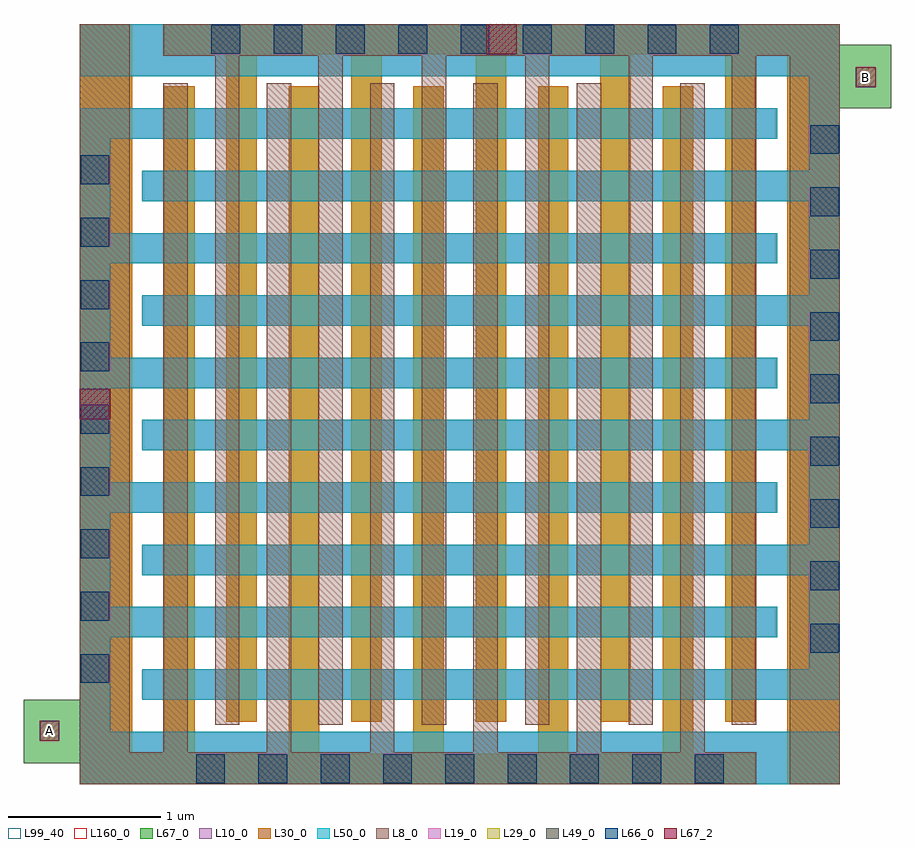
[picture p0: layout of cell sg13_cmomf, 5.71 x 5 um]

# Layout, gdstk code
import gdstk
lib = gdstk.Library(unit=1e-6, precision=1e-09)
def R(c, l, rs):  # rectangles x0, y0, x1, y1
    for r in rs: c.add(gdstk.rectangle(r[:2], r[2:], *l))
def A(c, l, x, y, w, h, nx, ny, dx, dy):  # array of equal rectangles
    R(c, l, [(x+i*dx, y+j*dy, x+i*dx+w, y+j*dy+h) for i in range(nx) for j in range(ny)])
L8_0 = (8, 0)
L10_0 = (10, 0)
L19_0 = (19, 0)
L29_0 = (29, 0)
L30_0 = (30, 0)
L49_0 = (49, 0)
L50_0 = (50, 0)
L66_0 = (66, 0)
L67_0 = (67, 0)
L67_2 = (67, 2)
L99_40 = (99, 40)
L160_0 = (160, 0)

cmomf = lib.new_cell('cmomf')
A(cmomf, L8_0, 0.55, 0, 0.16, 4.61, 6, 1, 0.68, 0)
A(cmomf, L8_0, 0.89, 0.39, 0.16, 4.61, 6, 1, 0.68, 0)
R(cmomf, L8_0, [(0,0,0.33,5), (0,0,4.45,0.21), (4.67,0,5,5), (0.55,4.79,5,5)])
A(cmomf, L10_0, 0.42, 0.555, 4.58, 0.2, 1, 5, 0, 0.82)
A(cmomf, L10_0, 0, 0.965, 4.58, 0.2, 1, 5, 0, 0.82)
R(cmomf, L10_0, [(0,0,5,0.345), (0,0,0.205,4.445), (4.795,0.555,5,5), (0,4.655,5,5)])
A(cmomf, L19_0, 0.765, 0.01, 0.19, 0.19, 9, 1, 0.41, 0)
A(cmomf, L19_0, 0.01, 0.665, 0.19, 0.19, 1, 9, 0, 0.41)
A(cmomf, L19_0, 4.8, 0.865, 0.19, 0.19, 1, 9, 0, 0.41)
A(cmomf, L19_0, 0.865, 4.8, 0.19, 0.19, 9, 1, 0.41, 0)
A(cmomf, L29_0, 0.765, 0.005, 0.19, 0.19, 9, 1, 0.41, 0)
A(cmomf, L29_0, 0.005, 0.665, 0.19, 0.19, 1, 9, 0, 0.41)
A(cmomf, L29_0, 4.805, 0.865, 0.19, 0.19, 1, 9, 0, 0.41)
A(cmomf, L29_0, 0.865, 4.805, 0.19, 0.19, 9, 1, 0.41, 0)
A(cmomf, L30_0, 0.555, 0, 0.2, 4.59, 5, 1, 0.82, 0)
A(cmomf, L30_0, 0.965, 0.41, 0.2, 4.59, 5, 1, 0.82, 0)
R(cmomf, L30_0, [(0,0,0.345,5), (0,0,4.445,0.2), (4.655,0,5,5), (0.555,4.8,5,5)])
A(cmomf, L49_0, 0.765, 0.005, 0.19, 0.19, 9, 1, 0.41, 0)
A(cmomf, L49_0, 0.005, 0.665, 0.19, 0.19, 1, 9, 0, 0.41)
A(cmomf, L49_0, 4.805, 0.865, 0.19, 0.19, 1, 9, 0, 0.41)
A(cmomf, L49_0, 0.865, 4.805, 0.19, 0.19, 9, 1, 0.41, 0)
A(cmomf, L50_0, 0.41, 0.555, 4.59, 0.2, 1, 5, 0, 0.82)
A(cmomf, L50_0, 0, 0.965, 4.59, 0.2, 1, 5, 0, 0.82)
R(cmomf, L50_0, [(0,0,5,0.345), (0,0,0.2,4.445), (4.8,0.555,5,5), (0,4.655,5,5)])
A(cmomf, L66_0, 0.765, 0.005, 0.19, 0.19, 9, 1, 0.41, 0)
A(cmomf, L66_0, 0.005, 0.665, 0.19, 0.19, 1, 9, 0, 0.41)
A(cmomf, L66_0, 4.805, 0.865, 0.19, 0.19, 1, 9, 0, 0.41)
A(cmomf, L66_0, 0.865, 4.805, 0.19, 0.19, 9, 1, 0.41, 0)
A(cmomf, L67_0, 0.555, 0, 0.2, 4.59, 5, 1, 0.82, 0)
A(cmomf, L67_0, 0.965, 0.41, 0.2, 4.59, 5, 1, 0.82, 0)
R(cmomf, L67_0, [(0,0,0.345,5), (0,0,4.445,0.2), (4.655,0,5,5), (0.555,4.8,5,5)])
R(cmomf, L67_2, [(0,2.4,0.2,2.6), (2.675,4.8,2.875,5)])
R(cmomf, L99_40, [(0,0,5,5)])
R(cmomf, L160_0, [(0,0,5,5)])
cmomf.add(gdstk.Label('cap_cmomf C=39.800fF', (0,-0.5), layer=63, texttype=0))

sg13_cmomf = lib.new_cell('sg13_cmomf')
R(sg13_cmomf, L67_2, [(-0.265,0.285,-0.135,0.415), (5.105,4.585,5.235,4.715)])
sg13_cmomf.add(gdstk.FlexPath([(0,0.345),(-0.37,0.345)], 0.42, ends="flush", simple_path=True, layer=67, datatype=0))  # L67_0
sg13_cmomf.add(gdstk.FlexPath([(5,4.655),(5.34,4.655)], 0.42, ends="flush", simple_path=True, layer=67, datatype=0))  # L67_0
sg13_cmomf.add(gdstk.Reference(cmomf, (0,0)))
sg13_cmomf.add(gdstk.Label('A', (-0.2,0.35), layer=67, texttype=25))
sg13_cmomf.add(gdstk.Label('B', (5.17,4.65), layer=67, texttype=25))

lib.write_gds('sg13_cmomf.gds')
